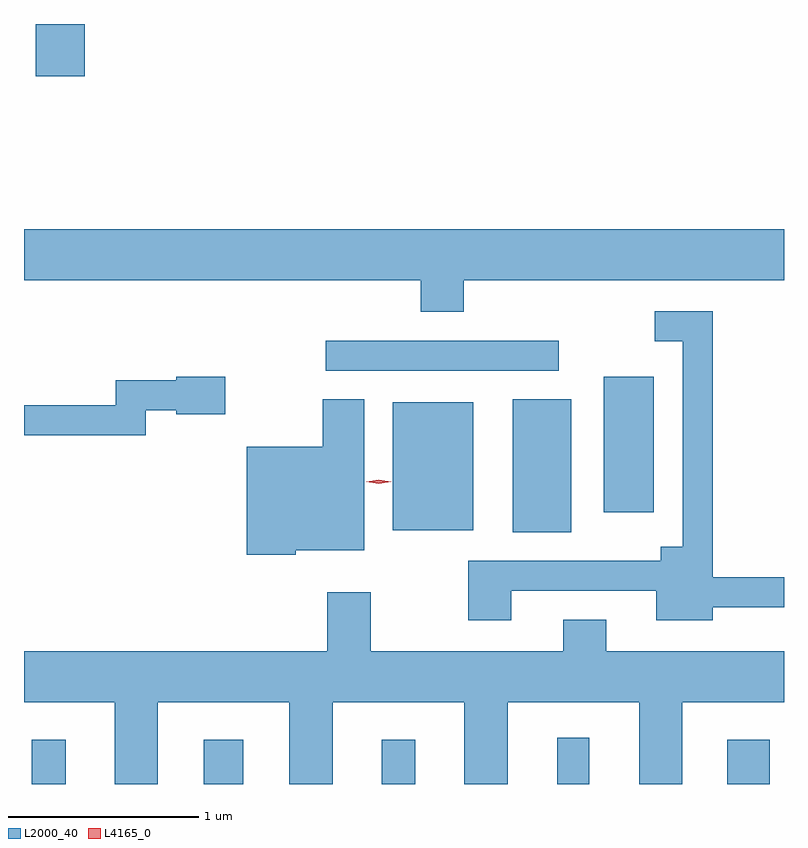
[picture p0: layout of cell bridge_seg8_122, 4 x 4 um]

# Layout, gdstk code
import gdstk
lib = gdstk.Library(unit=1e-6, precision=1e-09)
def R(c, l, rs):  # rectangles x0, y0, x1, y1
    for r in rs: c.add(gdstk.rectangle(r[:2], r[2:], *l))
def P(c, l, *ps):  # polygons
    for p in ps: c.add(gdstk.Polygon(p, *l))
L2000_40 = (2000, 40)
L4165_0 = (4165, 0)

bridge_seg8_122 = lib.new_cell('bridge_seg8_122')
R(bridge_seg8_122, L2000_40, [(1856.936,1869.285,1857.114,1869.519), (1857.841,1869.285,1858.049,1869.519), (1858.776,1869.285,1858.954,1869.519), (1859.701,1869.285,1859.869,1869.528), (1860.596,1869.285,1860.819,1869.519), (1859.466,1870.611,1859.774,1871.309), (1858.836,1870.621,1859.259,1871.294), (1859.946,1870.716,1860.209,1871.429), (1858.483,1871.461,1859.708,1871.619), (1856.956,1873.011,1857.214,1873.285)])
P(bridge_seg8_122, L2000_40, [(1859.209,1871.936),(1860.894,1871.936),(1860.894,1872.204),(1856.894,1872.204),(1856.894,1871.936),(1858.981,1871.936),(1858.981,1871.771),(1859.209,1871.771)],
  [(1859.459,1870.301),(1860.221,1870.301),(1860.221,1870.146),(1860.519,1870.146),(1860.519,1870.216),(1860.894,1870.216),(1860.894,1870.374),(1860.519,1870.374),(1860.519,1871.774),(1860.213,1871.774),(1860.213,1871.616),(1860.361,1871.616),(1860.361,1870.534),(1860.246,1870.534),(1860.246,1870.459),(1859.231,1870.459),(1859.231,1870.146),(1859.459,1870.146)],
  [(1857.534,1871.251),(1857.696,1871.251),(1857.696,1871.231),(1857.954,1871.231),(1857.954,1871.429),(1857.696,1871.429),(1857.696,1871.409),(1857.376,1871.409),(1857.376,1871.279),(1856.894,1871.279),(1856.894,1871.121),(1857.534,1871.121)],
  [(1858.324,1870.516),(1858.684,1870.516),(1858.684,1871.309),(1858.466,1871.309),(1858.466,1871.059),(1858.066,1871.059),(1858.066,1870.491),(1858.324,1870.491)],
  [(1857.599,1869.716),(1858.291,1869.716),(1858.291,1869.285),(1858.519,1869.285),(1858.519,1869.716),(1859.211,1869.716),(1859.211,1869.285),(1859.439,1869.285),(1859.439,1869.716),(1860.131,1869.716),(1860.131,1869.285),(1860.359,1869.285),(1860.359,1869.716),(1860.894,1869.716),(1860.894,1869.984),(1859.959,1869.984),(1859.959,1870.149),(1859.731,1870.149),(1859.731,1869.984),(1858.719,1869.984),(1858.719,1870.294),(1858.491,1870.294),(1858.491,1869.984),(1856.894,1869.984),(1856.894,1869.716),(1857.371,1869.716),(1857.371,1869.285),(1857.599,1869.285)])
P(bridge_seg8_122, L4165_0, [(1858.76,1870.866),(1858.694,1870.875),(1858.694,1870.876),(1858.694,1870.876),(1858.76,1870.886),(1858.826,1870.877),(1858.826,1870.877),(1858.826,1870.876)])

lib.write_gds('bridge_seg8_122.gds')
